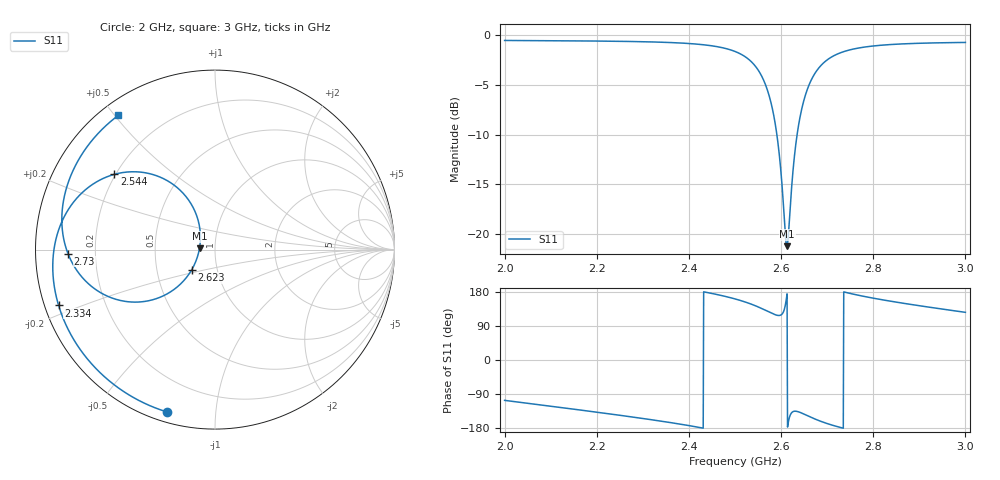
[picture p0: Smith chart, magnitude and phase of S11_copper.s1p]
! Touchstone file exported from HFSS 2025.1.0
!  File:  patch_copper.aedt
!  Generated:  12:59:56 PM Nov 15, 2026
!  Design:  patch_copper
!  Project:  patch_copper
!  Setup:  Setup1
!  Solution:  Sweep
# GHz S MA R 50.000000
! Terminal data exported
! Port[1] = P1
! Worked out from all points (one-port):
!   1001 points, 2 GHz to 3 GHz, reference 50 ohm
!   lowest |S11| = -21.3 dB at 2.613 GHz (marker M1), VSWR 1.19, Z = 42.1 + j0.696 ohm
!   |S11| at or under -10 dB: 2.591 GHz to 2.635 GHz (43.95 MHz wide, 1.68 % of centre)
!   S11 on the Smith chart (normalised r, x): 2 GHz: 0.05, -0.75; 2.334 GHz: 0.04, -0.17; 2.544 GHz: 0.19, +0.32; 2.623 GHz: 0.75, -0.18; 2.73 GHz: 0.10, -0.01; 3 GHz: 0.05, +0.51
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2  0.9432 -106.5
2.125  0.9397 -125.8
2.25  0.9338 -145.9
2.334  0.9252 -160.4
2.375  0.9174 -168.1
2.447  0.8883 176.3
2.5  0.8302 161.2
2.523  0.7783 152.7
2.544  0.7006 143.3
2.566  0.5657 131.3
2.584  0.3958 121.0
2.595  0.2648 117.5
2.6  0.2015 119.0
2.609  0.1013 143.3
2.613  0.08655 174.6
2.617  0.1074 -156.6
2.623  0.1725 -139.0
2.625  0.197 -136.9
2.631  0.271 -135.1
2.639  0.3642 -137.3
2.659  0.5502 -148.0
2.675  0.6519 -156.5
2.692  0.7263 -164.4
2.73  0.8194 -178.4
2.75  0.8464 175.6
2.804  0.8866 162.3
2.875  0.9087 147.9
3  0.9217 125.8
